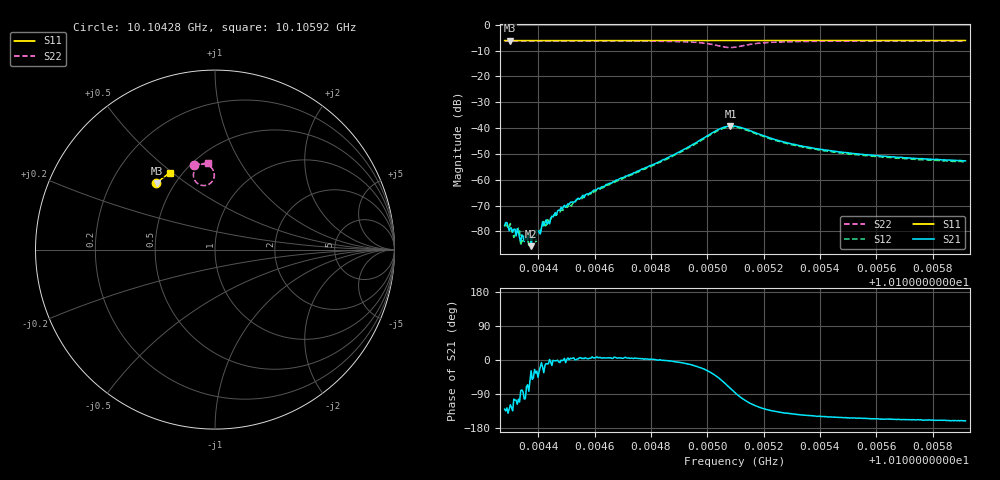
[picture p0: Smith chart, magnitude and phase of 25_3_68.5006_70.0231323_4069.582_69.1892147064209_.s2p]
#  HZ  S  RI  R  50.00
! Rohde & Schwarz Vector Network Analyzer
! Rohde-Schwarz,ZNB20-2Port,1311601062101988,3.16
! Created: UTC 3/20/2024, 4:49:42 PM
! freq[Hz]  re:S11  im:S11  re:S21  im:S21  re:S12  im:S12  re:S22  im:S22
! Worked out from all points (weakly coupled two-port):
!   401 points, 10.10428 GHz to 10.10592 GHz, reference 50 ohm
!   highest |S21| = -39.18 dB at 10.10508 GHz (marker M1); lowest = -85.7 dB at 10.10437 GHz (marker M2)
!   lowest |S11| = -6.2 dB at 10.1043 GHz (marker M3), VSWR 2.94, Z = 20 + j19.5 ohm
!   |S11| at or under -10 dB: nowhere
!   |S22| runs from -8.8 to -6.3 dB; largest |S21 - S12| = 0.0011
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1.010428e10  -0.3265 0.3683  -8.23e-05 -9.97e-05  -7.27e-05 -0.000102  -0.1148 0.4706
1.0104293e10  -0.326 0.3688  -9.61e-05 -7.93e-05  -4.9e-05 -0.000104  -0.1139 0.4709
1.0104301e10  -0.3255 0.369  -5.52e-05 -0.000103  -8.41e-05 -0.000115  -0.1132 0.4711
1.0104317e10  -0.3248 0.3698  -2.94e-05 -0.000106  -2.28e-05 -8.18e-05  -0.1119 0.4714
1.0104374e10  -0.3223 0.3722  4.55e-05 -2.46e-05  5.59e-05 -3.47e-05  -0.1074 0.4726
1.0104403e10  -0.3209 0.3733  8.34e-05 -4.79e-05  0.000101 -4.28e-05  -0.105 0.4732
1.0104419e10  -0.3203 0.3742  0.000108 -7.19e-05  0.000156 -4.12e-05  -0.1036 0.4734
1.010444e10  -0.3195 0.3751  0.00014 3.25e-06  0.000136 -3.54e-05  -0.1018 0.4737
1.0104452e10  -0.3187 0.3755  0.00019 -3.27e-06  0.000201 -2.69e-05  -0.1008 0.4739
1.0104477e10  -0.3175 0.3765  0.000254 -3.02e-05  0.000231 4.69e-05  -0.0986 0.4744
1.0104554e10  -0.3141 0.3797  0.000468 2.79e-05  0.000426 4.24e-05  -0.0914 0.4755
1.0104649e10  -0.3098 0.3836  0.000834 8.15e-05  0.000784 0.000124  -0.0814 0.4768
1.0104829e10  -0.3014 0.3907  0.00223 -2.95e-06  0.00213 0.000162  -0.0545 0.4754
1.0104923e10  -0.297 0.3943  0.00395 -0.000625  0.00381 -0.00028  -0.0307 0.4656
1.0105017e10  -0.2921 0.3977  0.00659 -0.0046  0.00669 -0.00382  -0.00345 0.4166
1.0105054e10  -0.2904 0.3987  0.00578 -0.0083  0.00623 -0.00747  -0.0183 0.3766
1.0105082e10  -0.2893 0.3994  0.00286 -0.0106  0.00366 -0.0099  -0.0543 0.3572
1.0105099e10  -0.2885 0.4001  0.00074 -0.0109  0.00161 -0.0104  -0.0779 0.3589
1.0105201e10  -0.2843 0.4042  -0.0044 -0.00552  -0.00374 -0.00567  -0.118 0.4314
1.0105373e10  -0.2758 0.4108  -0.00348 -0.00223  -0.00313 -0.00244  -0.0894 0.4684
1.0105647e10  -0.2621 0.4205  -0.00256 -0.00115  -0.00234 -0.00131  -0.0596 0.4808
1.0105917e10  -0.2485 0.4295  -0.00218 -0.000771  -0.00202 -0.000936  -0.0373 0.4852
